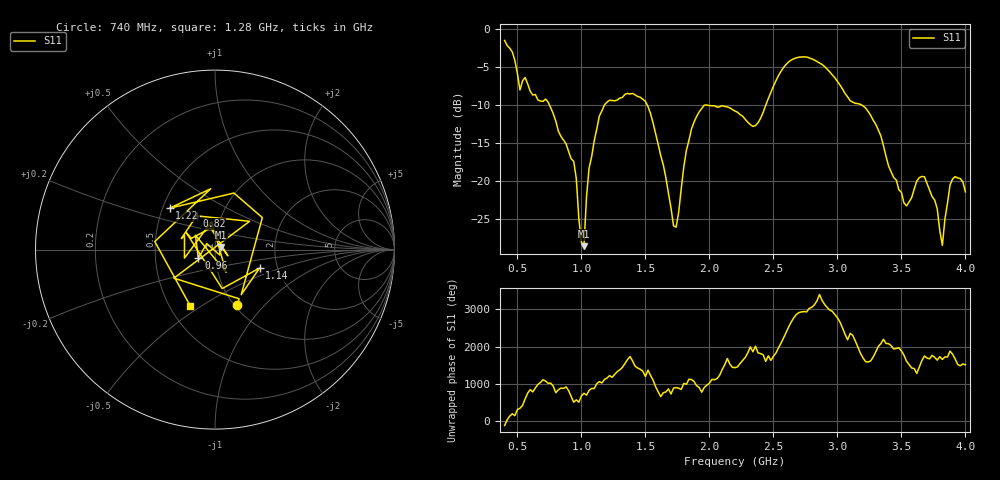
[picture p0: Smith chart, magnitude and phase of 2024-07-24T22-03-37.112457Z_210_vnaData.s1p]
!Created with skrf (http://scikit-rf.org).
# Hz S RI R 50.0
!freq ReS11 ImS11
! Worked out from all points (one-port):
!   181 points, 400 MHz to 4 GHz, reference 50 ohm
!   lowest |S11| = -28.5 dB at 1.02 GHz (marker M1), VSWR 1.08, Z = 53.5 + j1.63 ohm
!   |S11| at or under -10 dB: 1.515 GHz to 1.959 GHz (443.6 MHz wide, 25.5 % of centre); 1.991 GHz to 2.44 GHz (448.9 MHz wide, 20.3 % of centre); 3.194 GHz to end of sweep (the widest 3 of 4)
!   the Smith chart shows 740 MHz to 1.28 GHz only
!   S11 on the Smith chart (normalised r, x): 740 MHz: 1.04, -0.71; 820 MHz: 0.76, +0.30; 960 MHz: 0.83, -0.08; 1.14 GHz: 1.61, -0.36; 1.22 GHz: 0.54, +0.28; 1.28 GHz: 0.63, -0.45
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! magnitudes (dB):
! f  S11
! 400 MHz  -1.5
! 520 MHz  -8.0
! 740 MHz  -9.6
! 820 MHz  -13.4
! 860 MHz  -14.6
! 960 MHz  -19.6
! 1 GHz  -28.0
! 1.02 GHz  -28.5
! 1.06 GHz  -18.2
! 1.14 GHz  -11.4
! 1.22 GHz  -9.3
! 1.28 GHz  -9.3
! 1.3 GHz  -9.1
! 1.5 GHz  -9.5
! 1.72 GHz  -25.8
! 1.76 GHz  -24.0
! 1.82 GHz  -15.9
! 1.92 GHz  -10.9
! 2.2 GHz  -10.8
! 2.36 GHz  -12.6
! 2.66 GHz  -3.9
! 3.1 GHz  -9.4
! 3.26 GHz  -11.3
! 3.56 GHz  -22.7
! 3.68 GHz  -19.4
! 3.82 GHz  -28.4
! 3.9 GHz  -19.7
! 4 GHz  -21.4
